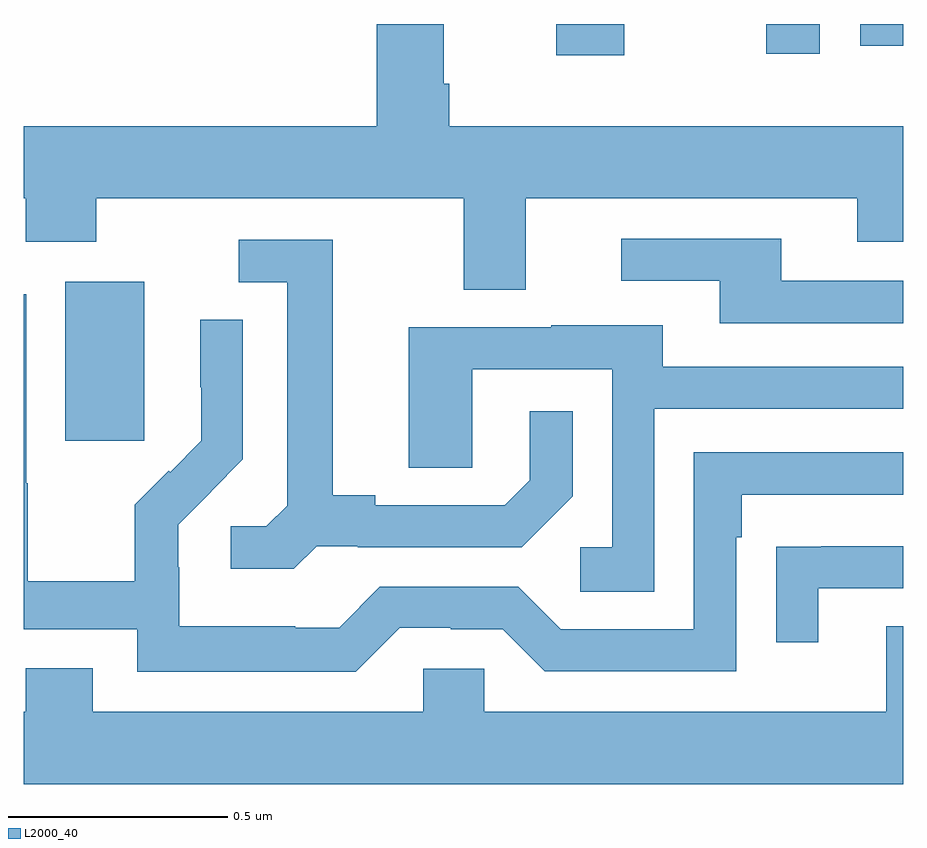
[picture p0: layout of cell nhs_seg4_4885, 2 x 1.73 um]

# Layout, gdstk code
import gdstk
lib = gdstk.Library(unit=1e-6, precision=1e-09)
def R(c, l, rs):  # rectangles x0, y0, x1, y1
    for r in rs: c.add(gdstk.rectangle(r[:2], r[2:], *l))
def P(c, l, *ps):  # polygons
    for p in ps: c.add(gdstk.Polygon(p, *l))
L2000_40 = (2000, 40)

nhs_seg4_4885 = lib.new_cell('nhs_seg4_4885')
R(nhs_seg4_4885, L2000_40, [(171.095,778.953,171.274,779.314), (172.211,779.829,172.366,779.9), (172.688,779.832,172.81,779.9), (172.902,779.85,173,779.9)])
P(nhs_seg4_4885, L2000_40, [(172.141,779.504),(172.895,779.504),(172.895,779.405),(173,779.405),(173,779.668),(171.968,779.668),(171.968,779.764),(171.955,779.764),(171.955,779.9),(171.803,779.9),(171.803,779.668),(171,779.668),(171,779.504),(171.005,779.504),(171.005,779.405),(171.165,779.405),(171.165,779.504),(172.001,779.504),(172.001,779.296),(172.141,779.296)],
  [(173,779.316),(172.723,779.316),(172.723,779.412),(172.359,779.412),(172.359,779.316),(172.583,779.316),(172.583,779.22),(173,779.22)],
  [(171.666,778.713),(171.76,778.713),(171.76,778.71),(172.132,778.71),(172.248,778.826),(172.248,779.02),(172.151,779.02),(172.151,778.863),(172.094,778.806),(171.799,778.806),(171.799,778.829),(171.703,778.829),(171.703,779.409),(171.489,779.409),(171.489,779.313),(171.599,779.313),(171.599,778.805),(171.552,778.758),(171.471,778.758),(171.471,778.661),(171.614,778.661)],
  [(171.855,778.527),(171.971,778.527),(171.971,778.524),(172.089,778.524),(172.185,778.428),(172.62,778.428),(172.62,778.733),(172.633,778.733),(172.633,778.83),(173,778.83),(173,778.926),(172.524,778.926),(172.524,778.524),(172.221,778.524),(172.125,778.62),(171.81,778.62),(171.717,778.527),(171.617,778.527),(171.617,778.531),(171.354,778.531),(171.354,778.665),(171.352,778.665),(171.352,778.762),(171.426,778.836),(171.425,778.837),(171.498,778.91),(171.498,779.228),(171.402,779.228),(171.402,779.074),(171.404,779.074),(171.404,778.952),(171.333,778.881),(171.33,778.884),(171.253,778.807),(171.253,778.633),(171.009,778.633),(171.009,778.856),(171.006,778.856),(171.006,779.286),(171,779.286),(171,778.524),(171.258,778.524),(171.258,778.427),(171.755,778.427)],
  [(172.434,779.025),(173,779.025),(173,779.121),(172.453,779.121),(172.453,779.215),(172.199,779.215),(172.199,779.211),(171.875,779.211),(171.875,778.891),(172.02,778.891),(172.02,779.115),(172.338,779.115),(172.338,778.71),(172.266,778.71),(172.266,778.609),(172.434,778.609)],
  [(172.807,778.617),(173,778.617),(173,778.713),(172.813,778.713),(172.813,778.712),(172.711,778.712),(172.711,778.494),(172.807,778.494)],
  [(173,778.531),(172.961,778.531),(172.961,778.336),(172.047,778.336),(172.047,778.434),(171.909,778.434),(171.909,778.336),(171.157,778.336),(171.157,778.435),(171.005,778.435),(171.005,778.336),(171,778.336),(171,778.172),(173,778.172)])

lib.write_gds('nhs_seg4_4885.gds')
